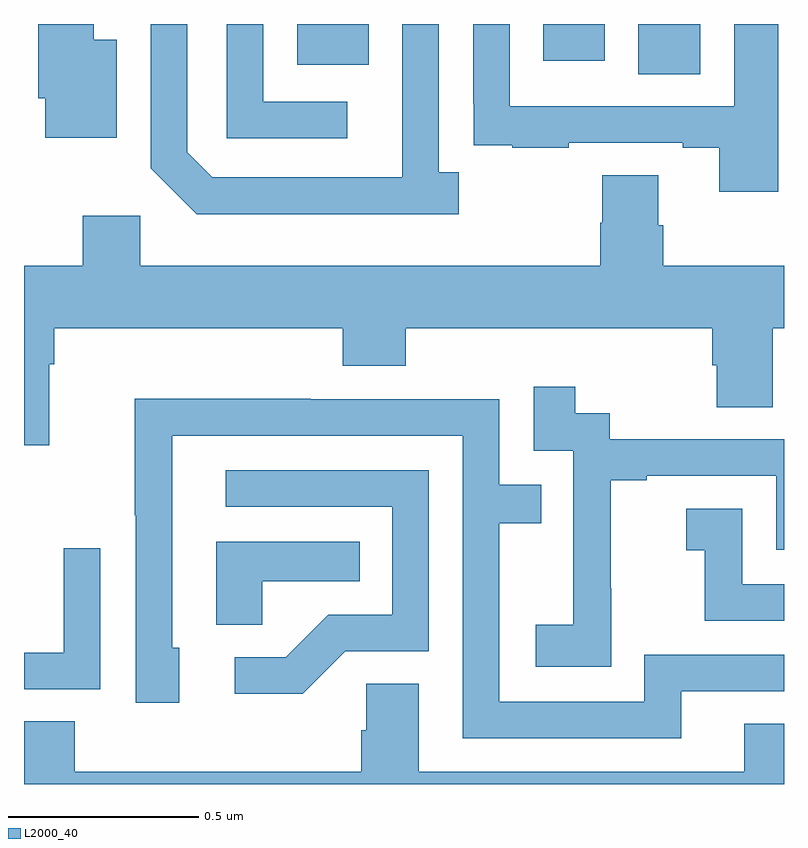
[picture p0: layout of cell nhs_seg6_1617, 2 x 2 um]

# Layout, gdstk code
import gdstk
lib = gdstk.Library(unit=1e-6, precision=1e-09)
def R(c, l, rs):  # rectangles x0, y0, x1, y1
    for r in rs: c.add(gdstk.rectangle(r[:2], r[2:], *l))
def P(c, l, *ps):  # polygons
    for p in ps: c.add(gdstk.Polygon(p, *l))
L2000_40 = (2000, 40)

nhs_seg6_1617 = lib.new_cell('nhs_seg6_1617')
R(nhs_seg6_1617, L2000_40, [(133.616,917.368,133.78,917.5), (132.719,917.393,132.907,917.5), (133.367,917.403,133.528,917.5)])
P(nhs_seg6_1617, L2000_40, [(133.985,917.5),(133.869,917.5),(133.869,917.283),(133.278,917.283),(133.278,917.5),(133.182,917.5),(133.182,917.29),(133.183,917.29),(133.183,917.181),(133.285,917.181),(133.285,917.175),(133.433,917.175),(133.433,917.187),(133.733,917.187),(133.733,917.175),(133.829,917.175),(133.829,917.058),(133.985,917.058)],
  [(133.144,917.11),(133.092,917.11),(133.092,917.5),(132.996,917.5),(132.996,917.297),(132.995,917.297),(132.995,917.097),(132.495,917.097),(132.429,917.163),(132.429,917.5),(132.333,917.5),(132.333,917.121),(132.454,917),(133.144,917)],
  [(132.85,917.295),(132.63,917.295),(132.63,917.5),(132.534,917.5),(132.534,917.199),(132.85,917.199)],
  [(132.244,917.458),(132.184,917.458),(132.184,917.5),(132.037,917.5),(132.037,917.305),(132.056,917.305),(132.056,917.201),(132.244,917.201)],
  [(132.067,916.604),(132.08,916.604),(132.08,916.7),(132.839,916.7),(132.839,916.601),(133.004,916.601),(133.004,916.7),(133.811,916.7),(133.811,916.602),(133.823,916.602),(133.823,916.492),(133.971,916.492),(133.971,916.7),(134,916.7),(134,916.864),(133.682,916.864),(133.682,916.97),(133.669,916.97),(133.669,917.102),(133.522,917.102),(133.522,916.977),(133.517,916.977),(133.517,916.864),(132.306,916.864),(132.306,916.996),(132.155,916.996),(132.155,916.864),(132,916.864),(132,916.391),(132.067,916.391)],
  [(133.545,916.015),(133.544,916.015),(133.544,916.299),(133.639,916.299),(133.639,916.311),(133.98,916.311),(133.98,916.116),(134,916.116),(134,916.407),(133.542,916.407),(133.542,916.476),(133.45,916.476),(133.45,916.546),(133.341,916.546),(133.341,916.377),(133.446,916.377),(133.446,916.148),(133.445,916.148),(133.445,915.919),(133.347,915.919),(133.347,915.809),(133.545,915.809)],
  [(133.729,915.744),(134,915.744),(134,915.84),(133.632,915.84),(133.632,915.717),(133.251,915.717),(133.251,916.186),(133.361,916.186),(133.361,916.287),(133.251,916.287),(133.251,916.512),(132.755,916.512),(132.755,916.514),(132.292,916.514),(132.292,916.207),(132.294,916.207),(132.294,915.714),(132.409,915.714),(132.409,915.858),(132.39,915.858),(132.39,916.416),(133.155,916.416),(133.155,915.621),(133.729,915.621)],
  [(132.846,915.849),(133.065,915.849),(133.065,916.326),(132.531,916.326),(132.531,916.23),(132.969,916.23),(132.969,915.945),(132.8,915.945),(132.689,915.834),(132.555,915.834),(132.555,915.737),(132.733,915.737)],
  [(134,916.026),(133.89,916.026),(133.89,916.225),(133.743,916.225),(133.743,916.115),(133.792,916.115),(133.792,915.93),(134,915.93)],
  [(132.627,916.034),(132.884,916.034),(132.884,916.138),(132.506,916.138),(132.506,915.919),(132.627,915.919)],
  [(132.201,916.12),(132.105,916.12),(132.105,915.846),(132,915.846),(132,915.75),(132.201,915.75)],
  [(134,915.659),(133.895,915.659),(133.895,915.532),(133.039,915.532),(133.039,915.764),(132.9,915.764),(132.9,915.641),(132.887,915.641),(132.887,915.532),(132.134,915.532),(132.134,915.665),(132,915.665),(132,915.5),(134,915.5)])

lib.write_gds('nhs_seg6_1617.gds')
